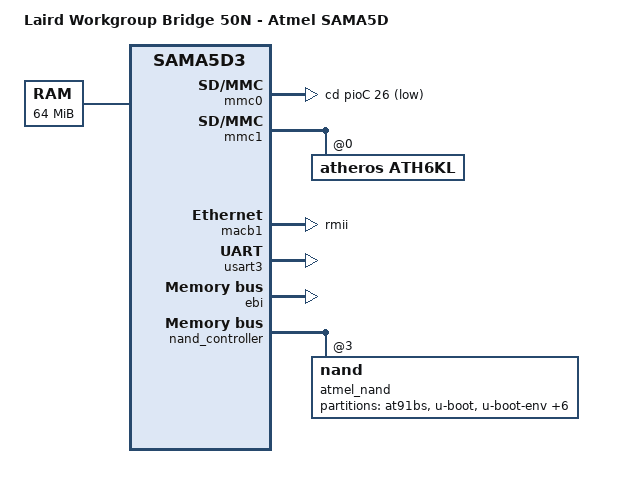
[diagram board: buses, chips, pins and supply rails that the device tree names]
// SPDX-License-Identifier: GPL-2.0
/*
 * at91-wb50n.dtsi - Device Tree include file for wb50n cpu module
 *
 *  Copyright (C) 2018 Laird
 *
 */

#include "sama5d31.dtsi"

/ {
	model = "Laird Workgroup Bridge 50N - Atmel SAMA5D";
	compatible = "laird,wb50n", "atmel,sama5d31", "atmel,sama5d3", "atmel,sama5";

	chosen {
		bootargs = "ubi.mtd=6 root=ubi0:rootfs rootfstype=ubifs rw";
		stdout-path = "serial0:115200n8";
	};

	memory@20000000 {
		reg = <0x20000000 0x4000000>;
	};
};

&pinctrl {
	board {
		pinctrl_mmc0_cd: mmc0_cd {
			atmel,pins = <AT91_PIOC 26 AT91_PERIPH_GPIO AT91_PINCTRL_PULL_UP_DEGLITCH>; /* PC26 GPIO with pullup deglitch */
		};

		pinctrl_usba_vbus: usba_vbus {
			atmel,pins = <AT91_PIOB 13 AT91_PERIPH_GPIO AT91_PINCTRL_DEGLITCH>; /* PB13 GPIO with deglitch */
		};
	};
};

&slow_xtal {
	clock-frequency = <32768>;
};

&main_xtal {
	clock-frequency = <12000000>;
};

&clk32k {
	atmel,osc-bypass;
};

&mmc0 {
	pinctrl-names = "default";
	pinctrl-0 = <&pinctrl_mmc0_clk_cmd_dat0 &pinctrl_mmc0_dat1_3 &pinctrl_mmc0_cd>;
	cd-gpios = <&pioC 26 GPIO_ACTIVE_LOW>;
	slot@0 {
		reg = <0>;
		bus-width = <4>;
	};
};

&mmc1 {
	pinctrl-names = "default";
	pinctrl-0 = <&pinctrl_mmc1_clk_cmd_dat0 &pinctrl_mmc1_dat1_3>;
	status = "okay";
	atheros@0 {
		compatible = "atheros,ath6kl";
		atheros,board-id = "SD32";
		reg = <0>;
		bus-width = <4>;
	};
};

&macb1 {
	phy-mode = "rmii";
};

&dbgu {
	dmas = <0>, <0>;	/*  Do not use DMA for dbgu */
};

/* On BB40 this port is labeled UART1 */
&usart0 {
	atmel,use-dma-rx;
	atmel,use-dma-tx;
	pinctrl-names = "default";
	pinctrl-0 = <&pinctrl_usart0 &pinctrl_usart0_rts_cts>;
};

/* On BB40 this port is labeled UART0 */
&usart1 {
	atmel,use-dma-rx;
	atmel,use-dma-tx;
	pinctrl-names = "default";
	pinctrl-0 = <&pinctrl_usart1 &pinctrl_usart1_rts_cts>;
	dtr-gpios = <&pioD 13 GPIO_ACTIVE_LOW>;
	dsr-gpios = <&pioD 11 GPIO_ACTIVE_LOW>;
	dcd-gpios = <&pioD 7 GPIO_ACTIVE_LOW>;
	rng-gpios = <&pioD 8 GPIO_ACTIVE_LOW>;
};

/* USART3 is direct-connect to the Bluetooth UART on the radio SIP */
&usart3 {
	atmel,use-dma-rx;
	atmel,use-dma-tx;
	pinctrl-names = "default";
	pinctrl-0 = <&pinctrl_usart3 &pinctrl_usart3_rts_cts>;
	status = "okay";
};

&spi1 {
	cs-gpios = <&pioC 25 0>, <0>, <0>, <0>;
};

&ebi {
	pinctrl-0 = <&pinctrl_ebi_nand_addr>;
	pinctrl-names = "default";
	status = "okay";
};

&nand_controller {
	status = "okay";

	nand: nand@3 {
		reg = <0x3 0x0 0x2>;
		atmel,rb = <0>;
		nand-bus-width = <8>;
		nand-ecc-mode = "hw";
		nand-ecc-strength = <8>;
		nand-ecc-step-size = <512>;
		nand-on-flash-bbt;
		label = "atmel_nand";

		partitions {
			compatible = "fixed-partitions";
			#address-cells = <1>;
			#size-cells = <1>;

			at91bootstrap@0 {
				label = "at91bs";
				reg = <0x0 0x20000>;
			};

			uboot@20000 {
				label = "u-boot";
				reg = <0x20000 0x80000>;
			};

			ubootenv@a0000 {
				label = "u-boot-env";
				reg = <0xa0000 0x20000>;
			};

			ubootenv@c0000 {
				label = "u-boot-env";
				reg = <0xc0000 0x20000>;
			};

			kernel-a@e0000 {
				label = "kernel-a";
				reg = <0xe0000 0x500000>;
			};

			kernel-b@5e0000 {
				label = "kernel-b";
				reg = <0x5e0000 0x500000>;
			};

			rootfs-a@ae0000 {
				label = "rootfs-a";
				reg = <0xae0000 0x3000000>;
			};

			rootfs-b@3ae0000 {
				label = "rootfs-b";
				reg = <0x3ae0000 0x3000000>;
			};

			user@6ae0000 {
				label = "user";
				reg = <0x6ae0000 0x14e0000>;
			};
		};
	};
};

&usb0 {
	atmel,vbus-gpio = <&pioB 13 GPIO_ACTIVE_LOW>;
	pinctrl-names = "default";
	pinctrl-0 = <&pinctrl_usba_vbus>;
};

&usb1 {
	num-ports = <3>;
	atmel,vbus-gpio = <&pioA 2 GPIO_ACTIVE_LOW>;
	atmel,oc-gpio = <&pioA 4 GPIO_ACTIVE_LOW>;
};
